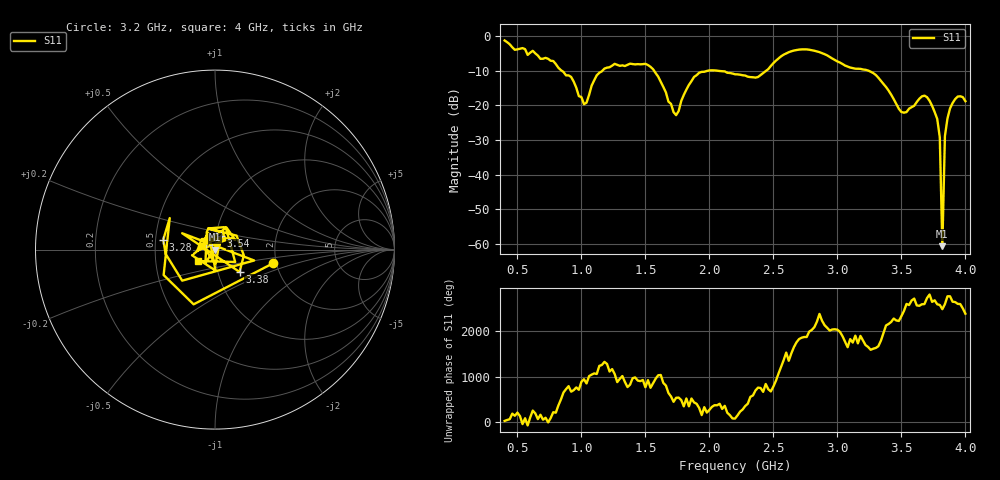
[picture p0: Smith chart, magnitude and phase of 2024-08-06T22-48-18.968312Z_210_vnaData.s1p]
!Created with skrf (http://scikit-rf.org).
# Hz S RI R 50.0
!freq ReS11 ImS11
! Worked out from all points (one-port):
!   181 points, 400 MHz to 4 GHz, reference 50 ohm
!   lowest |S11| = -60.6 dB at 3.82 GHz (marker M1), VSWR 1.00, Z = 50.1 - j0.069 ohm
!   |S11| at or under -10 dB: 1.568 GHz to 1.985 GHz (416.2 MHz wide, 23.4 % of centre); 2.071 GHz to 2.441 GHz (369.7 MHz wide, 16.4 % of centre); 3.245 GHz to end of sweep (the widest 3 of 4)
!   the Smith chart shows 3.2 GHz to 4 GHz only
!   S11 on the Smith chart (normalised r, x): 3.2 GHz: 1.91, -0.33; 3.28 GHz: 0.55, +0.07; 3.38 GHz: 1.27, -0.33; 3.54 GHz: 1.05, +0.16; 4 GHz: 0.82, -0.11
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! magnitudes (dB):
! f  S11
! 400 MHz  -1.2
! 860 MHz  -10.3
! 920 MHz  -11.8
! 1.02 GHz  -19.6
! 1.12 GHz  -11.3
! 1.3 GHz  -8.5
! 1.54 GHz  -8.8
! 1.72 GHz  -21.9
! 1.76 GHz  -21.6
! 1.82 GHz  -15.4
! 1.92 GHz  -10.5
! 2.2 GHz  -11.0
! 2.38 GHz  -11.8
! 2.66 GHz  -4.1
! 3.1 GHz  -9.0
! 3.2 GHz  -9.6
! 3.28 GHz  -10.6
! 3.38 GHz  -14.7
! 3.54 GHz  -21.9
! 3.56 GHz  -20.9
! 3.68 GHz  -17.2
! 3.78 GHz  -23.9
! 3.8 GHz  -29.2
! 3.82 GHz  -60.6
! 3.84 GHz  -28.9
! 3.86 GHz  -23.8
! 3.94 GHz  -17.4
! 4 GHz  -18.8
